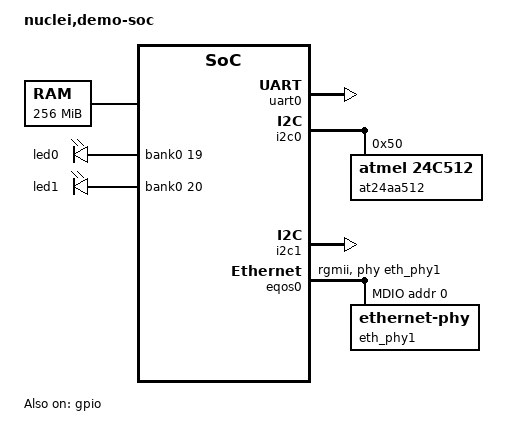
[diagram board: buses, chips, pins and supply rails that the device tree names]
/dts-v1/;

/ {
  #address-cells = <2>;
  #size-cells = <2>;
  compatible = "nuclei,demo-soc";
  model = "nuclei,demo-soc";

  chosen {
      bootargs = "earlycon=sbi console=ttyS0,115200";
  };

  aliases {
    serial0 = &uart0;
    eqos0 = &eqos0;
	/*eqos1 = &eqos1;*/
  };

  cpus {
    #address-cells = <1>;
    #size-cells = <0>;
    timebase-frequency =<2500000>; /* <32768>;*/
    cpu0: cpu@0 {
      device_type = "cpu";
      reg = <0>;
      status = "okay";
      compatible = "riscv";
      riscv,isa = "rv64imac";
      mmu-type = "riscv,sv39";
      clock-frequency = <50000000>;
      cpu0_intc: interrupt-controller {
        #interrupt-cells = <1>;
        interrupt-controller;
        compatible = "riscv,cpu-intc";
      };
    };
  };

  memory@00000000 {
    device_type = "memory";
    reg = <0x0 0x00000000 0x0 0xfffffff>;
  };

  soc {
    #address-cells = <2>;
    #size-cells = <2>;
    compatible = "nuclei,demo-soc", "simple-bus";
    ranges;
  };

  /* Used for Uboot SBI Console */
  console {
    compatible = "sbi,console";
  };

  hfclk: hfclk {
    #clock-cells = <0>;
    compatible = "fixed-clock";
    clock-frequency = <50000000>;
    clock-output-names = "hfclk";
  };

	GBE_CLK: GBE_CLK {
		#clock-cells = <0>;
		compatible = "fixed-clock";
		clock-frequency = <25000000>;
		clock-output-names = "GBE_CLK";
	};

	PHY_CLK: PHY_CLK {
		#clock-cells = <0>;
		compatible = "fixed-clock";
		clock-frequency = <25000000>;
		clock-output-names = "PHY_CLK";
	};

	PTP_CLK: PTP_CLK {
		#clock-cells = <0>;
		compatible = "fixed-clock";
		clock-frequency = <25000000>;
		clock-output-names = "PTP_CLK";
	};

  IIC_CLK: IIC_CLK {
    #clock-cells = <0>;
    compatible = "fixed-clock";
    clock-frequency = <40000000>;
    clock-output-names = "IIC_CLK";
  };

	GPIO_CLK: GPIO_CLK {
		#clock-cells = <0>;
		compatible = "fixed-clock";
		clock-frequency = <25000000>;
		clock-output-names = "GPIO_CLK";
	};

  plic0: interrupt-controller@6c000000 {
    #interrupt-cells = <1>;
    compatible = "riscv,plic0";
    interrupt-controller;
    riscv,ndev = <93>;
    interrupts-extended =
          <&cpu0_intc 11 &cpu0_intc 9>;
    reg = <0x0 0x6c000000 0x0 0x4000000>;
  };

  uart0: serial@F8400000 {
    compatible = "snps,dw-apb-uart";
    reg = <0x0 0xF8400000 0x0 0x1000>;
    interrupt-parent = <&plic0>;
    interrupts = <71>;
    reg-shift  = <2>;
    reg-io-width = <4>;
    clocks = <40000000>;
    clock-frequency = <40000000>;
    status = "okay";
  };

  uart1: serial@f8401000 {
    compatible = "snps,dw-apb-uart";
    #address-cells = <2>;
    #size-cells = <1>;
    reg = <0x0 0xf8401000 0x0 0x1000>;
    interrupt-parent = <&plic0>;
    interrupts = <72>;
    reg-shift = <2>;
    reg-io-width = <4>;
    clocks = <&hfclk>;
    status = "disabled";
  };

  i2c0: i2c0@f8414000 {
    compatible = "snps,designware-i2c";
    interrupt-parent = <&plic0>;
    interrupts = <65>;  //<GIC_SPI 64 IRQ_TYPE_LEVEL_HIGH>;
    reg = <0x0 0xF8414000 0x0 0x1000>;
    clocks = <&IIC_CLK>;
    clock-names = "IIC_CLK";
    #address-cells = <1>;
    #size-cells = <0>;
    i2c-scl-rising-time-ns = <100>;  /* Fast mode */
    i2c-scl-falling-time-ns = <100>;
    i2c-sda-hold-time-ns = <100>;
    status = "okay";

    at24aa512: eeprom@50 {
      compatible = "atmel,24c512"; /* 64K Bytes, at24AA512 */
      reg = <0x50>;
      pagesize = <8>;
      address-width = <16>;
      status = "okay";
    };
  };

  i2c1: i2c1@f8415000 {
    compatible = "snps,designware-i2c";
    interrupt-parent = <&plic0>;
    interrupts = <66>;  //<GIC_SPI 64 IRQ_TYPE_LEVEL_HIGH>;
    reg = <0x0 0xF8415000 0x0 0x1000>;
    clocks = <&IIC_CLK>;
    clock-names = "IIC_CLK";
    #address-cells = <1>;
    #size-cells = <0>;
    i2c-scl-rising-time-ns = <100>;  /* Fast mode */
    i2c-scl-falling-time-ns = <100>;
    i2c-sda-hold-time-ns = <100>;
    status = "okay";
  };

  gpio: gpio@f8411000 {
    compatible = "snps,dw-apb-anlogic-gpio";
    interrupt-parent = <&plic0>;
    reg = <0x0 0xf8411000 0x0 0x1000>;
    clocks = <&GPIO_CLK>;
    #address-cells = <1>;
    #size-cells = <0>;
    status = "okay";

    bank0: gpio-controller@0 {
      compatible = "snps,dw-apb-gpio-port";
      interrupts = <53>;
      bank-name = "MIO-Bank0";
      gpio-controller;
      #gpio-cells = <2>;
      snps,nr-gpios = <32>;
      reg = <0>;
      interrupt-controller;
      #interrupt-cells = <2>;
    };

    bank1: gpio-controller@1 {
      compatible = "snps,dw-apb-gpio-port";
      interrupts = <54>;
      bank-name = "MIO-Bank1";
      gpio-controller;
      #gpio-cells = <2>;
      snps,nr-gpios = <22>;
      reg = <0>;
      interrupt-controller;
      #interrupt-cells = <2>;
    };

    bank2: gpio-controller@2 {
      compatible = "snps,dw-apb-gpio-port";
      interrupts = <55>;
      bank-name = "EMIO-Bank2";
      gpio-controller;
      #gpio-cells = <2>;
      snps,nr-gpios = <32>;
      reg = <0>;
      interrupt-controller;
      #interrupt-cells = <2>;
    };

    bank3: gpio-controller@3 {
      compatible = "snps,dw-apb-gpio-port";
      interrupts = <56>;
      bank-name = "MIO-Bank3";
      gpio-controller;
      #gpio-cells = <2>;
      snps,nr-gpios = <32>;
      reg = <0>;
      interrupt-controller;
      #interrupt-cells = <2>;
    };
  };

	leds {
		compatible = "gpio-leds";
		led0 {
			gpios = <&bank0 19 0>;
			linux,default-trigger = "timer";
			status = "okay";
		};
		led1 {
			gpios = <&bank0 20 0>;
			linux,default-trigger = "heartbeat";
			status = "okay";
		};
	};

#if 1
eqos0: ethernet1@F8110000 {
		compatible = "snps,dwc-qos-ethernet-4.10";
		#address-cells = <2>;
		#size-cells = <2>;
		reg = <0x0 0xF8110000 0x0 0x10000>;
		interrupt-parent = <&plic0>; /* risc-v add */
		interrupts = <60>; /*<GIC_SPI 59 IRQ_TYPE_LEVEL_HIGH>;*/
		mac-address = [e0 78 a3 01 02 03];
		clocks = <&GBE_CLK>,<&PHY_CLK>,<&PTP_CLK>;
		clock-names = "apb_pclk","phy_ref_clk","ptp_ref";
		tx-fifo-depth = <16384>;
		rx-fifo-depth = <16384>;
		phy-handle = <&eth_phy1>;
		phy-mode = "rgmii";
		phy-addr = <0x011>;
		status = "okay";

		mdio {
			compatible = "snps,dwmac-mdio";
			#address-cells = <1>;
			#size-cells = <0>;

			eth_phy1: ethernet-phy@1 {
				/* Realtek RTL8211F (0x001cc916) */
				reg = <0>;
				reset-assert-us = <10000>;
				reset-deassert-us = <30000>;
           };
		};
	};
#endif

#if 0
eqos0: ethernet0@F8110000 {
        compatible ="snps,dwc-qos-ethernet-4.10";
        #address-cells = <2>;
        #size-cells = <2>;
        reg = <0x0 0xF8110000 0x0 0x10000>;
        interrupt-parent = <&plic0>;
        interrupts = <60>;    /*58 59*/
        mac-address = [00 00 00 00 00 00];
        clocks =  <&GBE_CLK>, <&PTP_CLK>;
        clock-names = "apb_pclk","phy_ref_clk";
        tx-fifo-depth = <16384>;
        rx-fifo-depth = <16384>;
        phy-handle = <&eth_phy0>;
        phy-mode = "rgmii";
        phy-addr = <0x011>;           /* 001  ,011*/
		status = "okay";

        mdio {
			compatible = "snps,dwmac-mdio";
			#address-cells = <1>;
			#size-cells = <0>;

			eth_phy0: ethernet-phy@0 {
			/* Realtek RTL8211F (0x001cc916) */
			reg = <0>;
			reset-assert-us = <10000>;
			reset-deassert-us = <30000>;

			};
		};
	};
#endif

};
